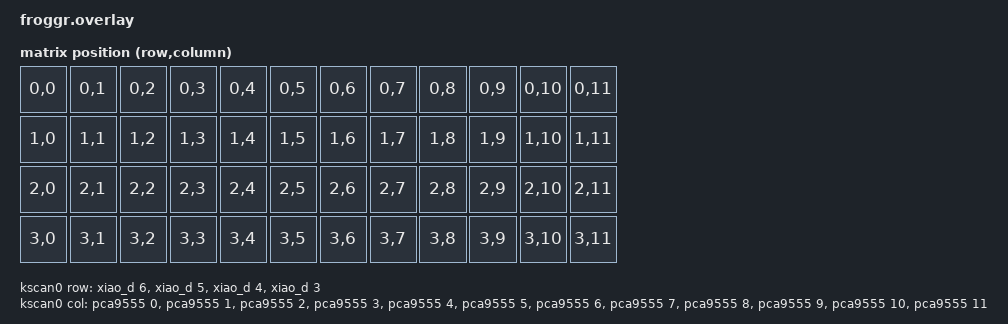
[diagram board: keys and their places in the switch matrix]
/*
 * Froggr — 48-key ortholinear keyboard
 * MCU:  Seeed XIAO BLE (nRF52840 / seeeduino_xiao_ble)
 * Cols: PCA9555 I/O expander via I2C (12 cols, IO0_0–IO1_3 = GPIO 0–11)
 * Rows: D6/P1.11, D5/P0.05, D4/P0.04, D3/P0.29
 * I2C:  SCL=D1/P0.03, SDA=D2/P0.28 (non-standard; D4/D5 used for rows)
 * PCA9555 address: 0x20 (A0=A1=A2=GND)
 * Diode direction: row2col (cathode on row side)
 */

#include <dt-bindings/zmk/matrix_transform.h>
#include "froggr-layouts.dtsi"

&physical_layout0 {
    transform = <&default_transform>;
};

/ {
    chosen {
        zmk,kscan = &kscan0;
        zmk,physical-layout = &physical_layout0;
    };

    default_transform: keymap_transform_0 {
        compatible = "zmk,matrix-transform";
        columns = <12>;
        rows = <4>;
        map = <
            RC(0,0)  RC(0,1)  RC(0,2)  RC(0,3)  RC(0,4)  RC(0,5)  RC(0,6)  RC(0,7)  RC(0,8)  RC(0,9)  RC(0,10) RC(0,11)
            RC(1,0)  RC(1,1)  RC(1,2)  RC(1,3)  RC(1,4)  RC(1,5)  RC(1,6)  RC(1,7)  RC(1,8)  RC(1,9)  RC(1,10) RC(1,11)
            RC(2,0)  RC(2,1)  RC(2,2)  RC(2,3)  RC(2,4)  RC(2,5)  RC(2,6)  RC(2,7)  RC(2,8)  RC(2,9)  RC(2,10) RC(2,11)
            RC(3,0)  RC(3,1)  RC(3,2)  RC(3,3)  RC(3,4)  RC(3,5)  RC(3,6)  RC(3,7)  RC(3,8)  RC(3,9)  RC(3,10) RC(3,11)
        >;
    };

    kscan0: kscan {
        compatible = "zmk,kscan-gpio-matrix";
        diode-direction = "row2col";
        wakeup-source;

        col-gpios
            = <&pca9555  0 (GPIO_ACTIVE_LOW | GPIO_PULL_UP)>
            , <&pca9555  1 (GPIO_ACTIVE_LOW | GPIO_PULL_UP)>
            , <&pca9555  2 (GPIO_ACTIVE_LOW | GPIO_PULL_UP)>
            , <&pca9555  3 (GPIO_ACTIVE_LOW | GPIO_PULL_UP)>
            , <&pca9555  4 (GPIO_ACTIVE_LOW | GPIO_PULL_UP)>
            , <&pca9555  5 (GPIO_ACTIVE_LOW | GPIO_PULL_UP)>
            , <&pca9555  6 (GPIO_ACTIVE_LOW | GPIO_PULL_UP)>
            , <&pca9555  7 (GPIO_ACTIVE_LOW | GPIO_PULL_UP)>
            , <&pca9555  8 (GPIO_ACTIVE_LOW | GPIO_PULL_UP)>
            , <&pca9555  9 (GPIO_ACTIVE_LOW | GPIO_PULL_UP)>
            , <&pca9555 10 (GPIO_ACTIVE_LOW | GPIO_PULL_UP)>
            , <&pca9555 11 (GPIO_ACTIVE_LOW | GPIO_PULL_UP)>
            ;

        row-gpios
            = <&xiao_d 6 GPIO_ACTIVE_LOW>
            , <&xiao_d 5 GPIO_ACTIVE_LOW>
            , <&xiao_d 4 GPIO_ACTIVE_LOW>
            , <&xiao_d 3 GPIO_ACTIVE_LOW>
            ;
    };
};

&pinctrl {
    i2c0_default: i2c0_default {
        group1 {
            psels = <NRF_PSEL(TWIM_SDA, 0, 28)>,
                    <NRF_PSEL(TWIM_SCL, 0,  3)>;
        };
    };
    i2c0_sleep: i2c0_sleep {
        group1 {
            psels = <NRF_PSEL(TWIM_SDA, 0, 28)>,
                    <NRF_PSEL(TWIM_SCL, 0,  3)>;
            low-power-enable;
        };
    };
};

&i2c0 {
    status = "okay";
    clock-frequency = <I2C_BITRATE_STANDARD>;
    pinctrl-0 = <&i2c0_default>;
    pinctrl-1 = <&i2c0_sleep>;
    pinctrl-names = "default", "sleep";

    pca9555: gpio_expander@20 {
        compatible = "nxp,pca95xx";
        reg = <0x20>;
        gpio-controller;
        #gpio-cells = <2>;
        ngpios = <16>;
        interrupt-gpios = <&xiao_d 0 (GPIO_ACTIVE_LOW | GPIO_PULL_UP)>;
    };
};
